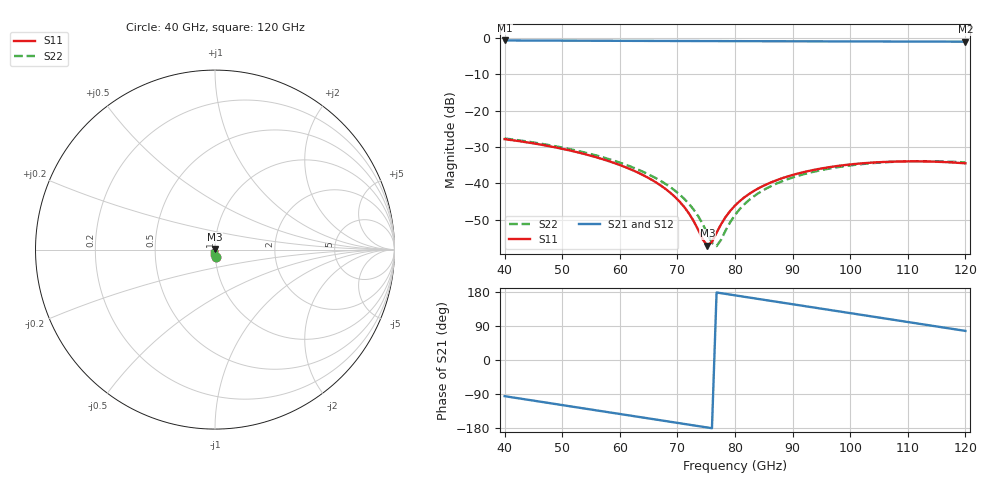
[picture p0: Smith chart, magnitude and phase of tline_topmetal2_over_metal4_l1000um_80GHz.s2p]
#  GHZ S DB R 50
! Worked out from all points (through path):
!   101 points, 40 GHz to 120 GHz, reference 50 ohm
!   highest |S21| = -0.63 dB at 40 GHz (marker M1); lowest = -1.0 dB at 120 GHz (marker M2)
!   group delay of S21, straight-line fit = 6.52 ps
!   lowest |S11| = -57.2 dB at 75.2 GHz (marker M3), VSWR 1.00, Z = 50 + j0.135 ohm
!   |S11| at or under -10 dB: start of sweep to end of sweep
!   |S22| runs from -57.3 to -27.6 dB; largest |S21 - S12| = 1.6e-13
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40  -27.84 -85.0  -0.63 -95.4  -0.63 -95.4  -27.65 -85.2
46.4  -29.39 -101.7  -0.66 -110.5  -0.66 -110.5  -29.11 -102.0
53.6  -31.83 -120.9  -0.70 -127.4  -0.70 -127.4  -31.40 -121.1
61.6  -35.97 -143.2  -0.74 -146.2  -0.74 -146.2  -35.22 -143.2
67.2  -40.71 -161.2  -0.77 -159.3  -0.77 -159.3  -39.44 -160.4
69.6  -43.79 -171.0  -0.78 -165.0  -0.78 -165.0  -42.05 -169.1
72  -48.30 174.2  -0.79 -170.6  -0.79 -170.6  -45.65 179.6
73.6  -52.81 154.0  -0.79 -174.4  -0.79 -174.4  -49.04 168.0
74.4  -55.49 133.9  -0.80 -176.2  -0.80 -176.2  -51.23 158.9
75.2  -57.20 101.5  -0.80 -178.1  -0.80 -178.1  -53.82 144.8
76  -56.15 66.9  -0.80 -180.0  -0.80 -180.0  -56.44 120.7
76.8  -53.64 44.2  -0.81 178.1  -0.81 178.1  -57.34 85.1
78.4  -49.22 22.1  -0.81 174.4  -0.81 174.4  -52.93 34.7
80  -46.15 10.7  -0.82 170.6  -0.82 170.6  -48.73 15.5
82.4  -43.00 -0.5  -0.83 165.0  -0.83 165.0  -44.68 1.0
85.6  -40.20 -11.9  -0.84 157.5  -0.84 157.5  -41.31 -11.7
89.6  -37.89 -24.3  -0.86 148.1  -0.86 148.1  -38.62 -24.5
93.6  -36.34 -35.8  -0.87 138.7  -0.87 138.7  -36.85 -36.2
100.8  -34.68 -55.7  -0.90 121.8  -0.90 121.8  -34.93 -56.3
107.2  -34.04 -73.2  -0.92 106.8  -0.92 106.8  -34.11 -73.8
113.6  -34.00 -90.8  -0.94 91.8  -0.94 91.8  -33.91 -91.3
120  -34.51 -108.5  -0.97 76.8  -0.97 76.8  -34.25 -108.8
